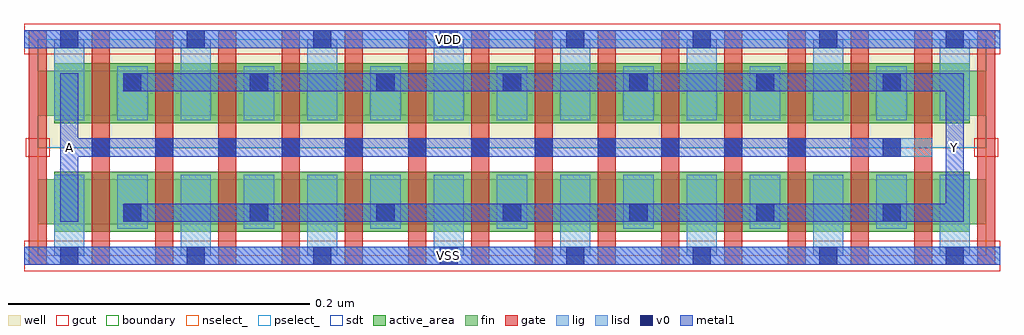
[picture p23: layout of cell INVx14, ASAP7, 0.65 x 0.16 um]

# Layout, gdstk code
import gdstk
lib = gdstk.Library(unit=1e-6, precision=2.5e-10)
def R(c, l, rs):  # rectangles x0, y0, x1, y1
    for r in rs: c.add(gdstk.rectangle(r[:2], r[2:], *l))
def A(c, l, x, y, w, h, nx, ny, dx, dy):  # array of equal rectangles
    R(c, l, [(x+i*dx, y+j*dy, x+i*dx+w, y+j*dy+h) for i in range(nx) for j in range(ny)])
def P(c, l, *ps):  # polygons
    for p in ps: c.add(gdstk.Polygon(p, *l))
well = (1, 0)
fin = (2, 0)
gate = (7, 0)
gcut = (10, 0)
active_area = (11, 0)
nselect_ = (12, 0)
pselect_ = (13, 0)
lig = (16, 0)
lisd = (17, 0)
v0 = (18, 0)
metal1 = (19, 0)
sdt = (88, 0)
boundary = (100, 0)

invx14 = lib.new_cell('INVx14')
R(invx14, well, [(0,0.072,0.63,0.144)])
R(invx14, fin, [(0,0.021,0.63,0.051), (0,0.093,0.63,0.123)])
A(invx14, gate, -0.006, -0.006, 0.012, 0.156, 16, 1, 0.042, 0)
R(invx14, gcut, [(-0.009,-0.01,0.639,0.01), (-0.008,0.066,0.008,0.078), (0.622,0.066,0.638,0.078), (-0.009,0.134,0.639,0.154)])
R(invx14, active_area, [(0.011,0.016,0.619,0.056), (0.011,0.088,0.619,0.128)])
R(invx14, nselect_, [(0,0,0.63,0.072)])
R(invx14, pselect_, [(0,0.072,0.63,0.144)])
A(invx14, lig, 0.036, 0.066, 0.012, 0.012, 12, 1, 0.042, 0)
R(invx14, lig, [(-0.009,-0.006,0.639,0.006), (0.54,0.066,0.594,0.078), (-0.009,0.138,0.639,0.15)])
A(invx14, lisd, 0.011, 0, 0.02, 0.054, 8, 2, 0.084, 0.09)
A(invx14, lisd, 0.053, 0.018, 0.02, 0.036, 7, 2, 0.084, 0.072)
A(invx14, v0, 0.015, -0.006, 0.012, 0.012, 8, 2, 0.084, 0.144)
A(invx14, v0, 0.057, 0.0227, 0.012, 0.012, 7, 2, 0.084, 0.0865)
A(invx14, v0, 0.036, 0.066, 0.012, 0.012, 12, 1, 0.042, 0)
R(invx14, v0, [(0.561,0.066,0.573,0.078)])
R(invx14, metal1, [(-0.009,-0.006,0.639,0.006), (-0.009,0.138,0.639,0.15)])
P(invx14, metal1, [(0.015,0.0227),(0.027,0.0227),(0.027,0.066),(0.573,0.066),(0.573,0.078),(0.027,0.078),(0.027,0.1212),(0.015,0.1212)],
  [(0.057,0.1092),(0.603,0.1092),(0.603,0.0348),(0.057,0.0348),(0.057,0.0227),(0.615,0.0227),(0.615,0.1212),(0.057,0.1212)])
A(invx14, sdt, 0.011, 0.021, 0.02, 0.03, 15, 2, 0.042, 0.072)
R(invx14, boundary, [(0,0,0.63,0.144)])
invx14.add(gdstk.Label('Y', (0.609,0.072), layer=19, texttype=251))
invx14.add(gdstk.Label('A', (0.021,0.072), layer=19, texttype=251))
invx14.add(gdstk.Label('VSS', (0.273,0), layer=19, texttype=251))
invx14.add(gdstk.Label('VDD', (0.273,0.144), layer=19, texttype=251))

lib.write_gds('INVx14.gds')
